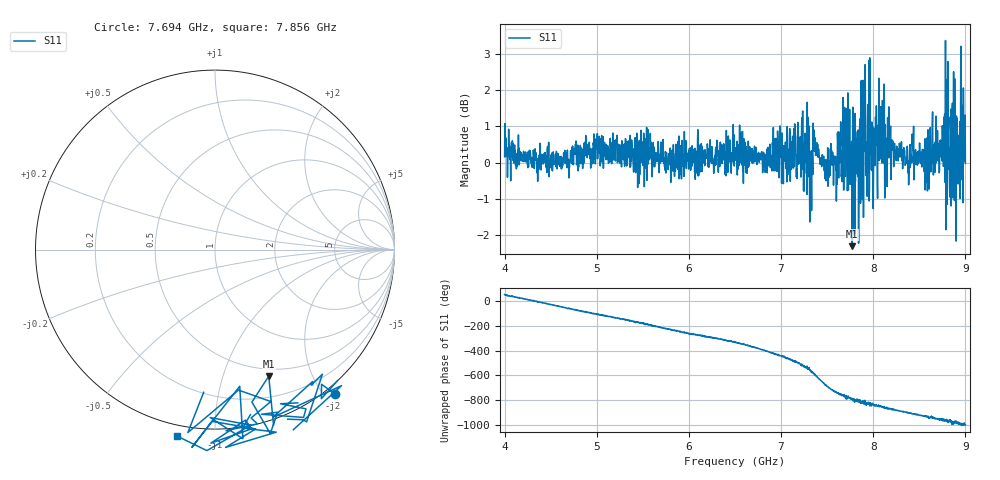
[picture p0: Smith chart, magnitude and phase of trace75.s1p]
! Created with skrf 1.8.0 (http://scikit-rf.org).
# Hz S RI R 50.0
!freq ReS11 ImS11
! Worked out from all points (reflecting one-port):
!   1601 points, 4 GHz to 9 GHz, reference 50 ohm
!   lowest |S11| = -2.3 dB at 7.772 GHz (marker M1), VSWR 7.55, Z = 20.9 - j71.4 ohm
!   phase of S11 starts at 53 deg and turns -1053 deg over the sweep
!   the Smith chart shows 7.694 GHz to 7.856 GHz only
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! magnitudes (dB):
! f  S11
! 4 GHz  0.2
! 4.625 GHz  -0.1
! 5.25 GHz  0.1
! 5.875 GHz  0.2
! 6.5 GHz  0.1
! 6.825 GHz  0.2
! 7.125 GHz  0.7
! 7.262 GHz  0.8
! 7.281 GHz  -0.9
! 7.325 GHz  0.3
! 7.372 GHz  0.6
! 7.462 GHz  0.2
! 7.584 GHz  0.0
! 7.691 GHz  1.4
! 7.75 GHz  -0.6
! 7.772 GHz  -2.3
! 7.891 GHz  0.8
! 7.909 GHz  0.3
! 7.962 GHz  2.9
! 7.981 GHz  -0.2
! 8.088 GHz  0.4
! 8.375 GHz  0.1
! 8.566 GHz  -0.3
! 8.619 GHz  1.0
! 8.759 GHz  0.5
! 8.919 GHz  0.2
! 8.972 GHz  0.7
! 9 GHz  0.0
